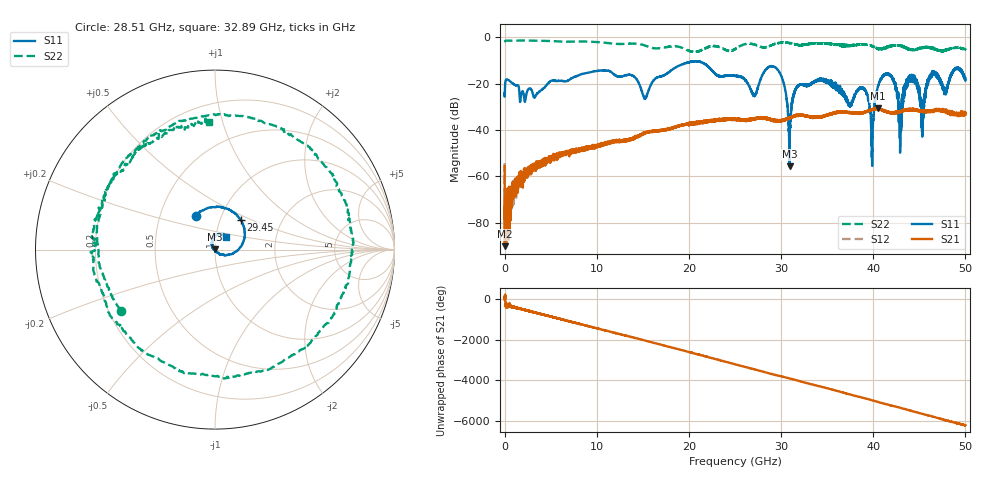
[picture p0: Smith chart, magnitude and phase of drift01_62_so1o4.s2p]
!Created with skrf (http://scikit-rf.org).
# Hz S RI R 50.0
!freq ReS11 ImS11 ReS21 ImS21 ReS12 ImS12 ReS22 ImS22
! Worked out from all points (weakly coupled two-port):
!   10001 points, 300 kHz to 50 GHz, reference 50 ohm
!   highest |S21| = -30.57 dB at 40.52 GHz (marker M1); lowest = -90.1 dB at 70.3 MHz (marker M2)
!   lowest |S11| = -55.7 dB at 30.92 GHz (marker M3), VSWR 1.00, Z = 49.9 + j0.0996 ohm
!   |S11| at or under -10 dB: start of sweep to end of sweep
!   |S22| runs from -6.4 to -1.4 dB; largest |S21 - S12| = 0.0046
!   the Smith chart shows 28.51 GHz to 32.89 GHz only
!   S11 on the Smith chart (normalised r, x): 28.51 GHz: 0.76, +0.30; 29.45 GHz: 1.25, +0.43; 32.89 GHz: 1.12, +0.16
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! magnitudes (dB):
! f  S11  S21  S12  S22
! 300 kHz  -24.0  -55.6  -54.2  -2.1
! 70.3 MHz  -19.6  -90.1  -80.1  -1.5
! 8.335 GHz  -15.9  -48.2  -48.4  -1.8
! 15.23 GHz  -26.5  -41.2  -41.4  -3.5
! 16.67 GHz  -17.1  -40.3  -40.2  -4.8
! 25 GHz  -16.5  -35.4  -35.3  -5.0
! 27.1 GHz  -25.2  -35.2  -35.0  -3.1
! 28.51 GHz  -13.3  -35.0  -35.2  -4.1
! 29.45 GHz  -13.2  -36.0  -35.6  -2.7
! 30.92 GHz  -55.7  -34.9  -34.8  -2.5
! 31.61 GHz  -22.3  -33.4  -33.7  -3.1
! 32.89 GHz  -20.6  -34.4  -34.3  -2.9
! 33.34 GHz  -19.8  -34.5  -34.4  -2.6
! 38.91 GHz  -22.0  -32.5  -32.5  -3.0
! 39.86 GHz  -48.0  -31.2  -31.1  -3.6
! 40.52 GHz  -21.0  -30.6  -30.8  -4.9
! 41.67 GHz  -15.8  -32.1  -32.5  -4.2
! 42.97 GHz  -33.4  -32.0  -31.8  -3.5
! 44.03 GHz  -16.9  -31.0  -31.1  -5.4
! 45.31 GHz  -36.4  -32.0  -31.8  -4.3
! 46.42 GHz  -15.3  -32.3  -31.7  -4.8
! 50 GHz  -17.6  -33.3  -32.1  -5.1
